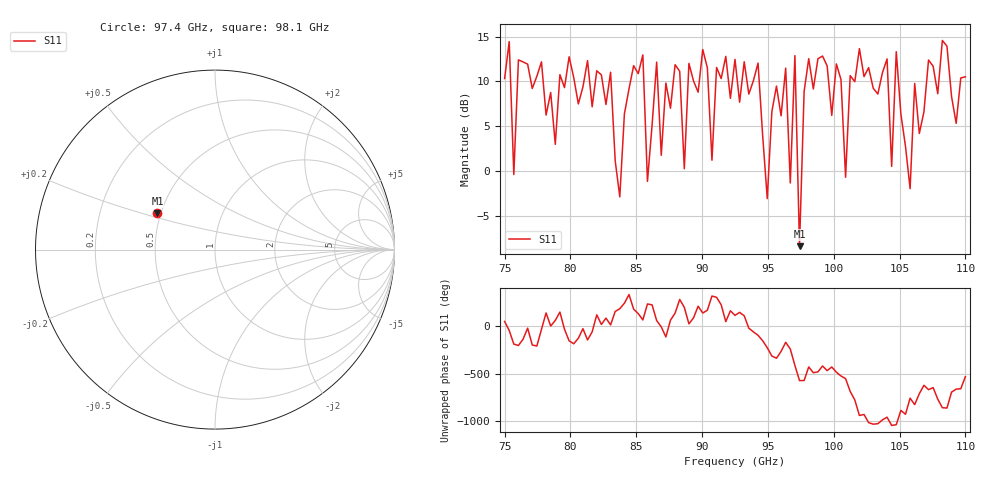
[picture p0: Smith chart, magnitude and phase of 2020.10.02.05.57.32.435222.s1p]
!Created with skrf (http://scikit-rf.org).
# GHz S RI R 50.0
!freq ReS11 ImS11
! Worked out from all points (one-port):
!   101 points, 75 GHz to 110 GHz, reference 50 ohm
!   lowest |S11| = -8.4 dB at 97.4 GHz (marker M1), VSWR 2.22, Z = 24 + j11.3 ohm
!   |S11| at or under -10 dB: nowhere
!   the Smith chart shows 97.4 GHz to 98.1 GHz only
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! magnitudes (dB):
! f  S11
! 75 GHz  10.3
! 75.7 GHz  -0.4
! 76.05 GHz  12.4
! 79.55 GHz  9.3
! 83.05 GHz  11.0
! 83.75 GHz  -2.9
! 84.8 GHz  11.8
! 85.85 GHz  -1.2
! 88.3 GHz  11.1
! 88.65 GHz  0.2
! 89 GHz  12.0
! 90.75 GHz  1.2
! 92.5 GHz  12.5
! 94.25 GHz  12.1
! 94.95 GHz  -3.1
! 96.35 GHz  11.5
! 96.7 GHz  -1.4
! 97.05 GHz  12.9
! 97.4 GHz  -8.4
! 98.1 GHz  12.5
! 100.9 GHz  -0.7
! 101.2 GHz  10.6
! 104 GHz  12.5
! 104.4 GHz  0.5
! 104.8 GHz  13.3
! 105.8 GHz  -2.0
! 106.2 GHz  9.8
! 110 GHz  10.5
